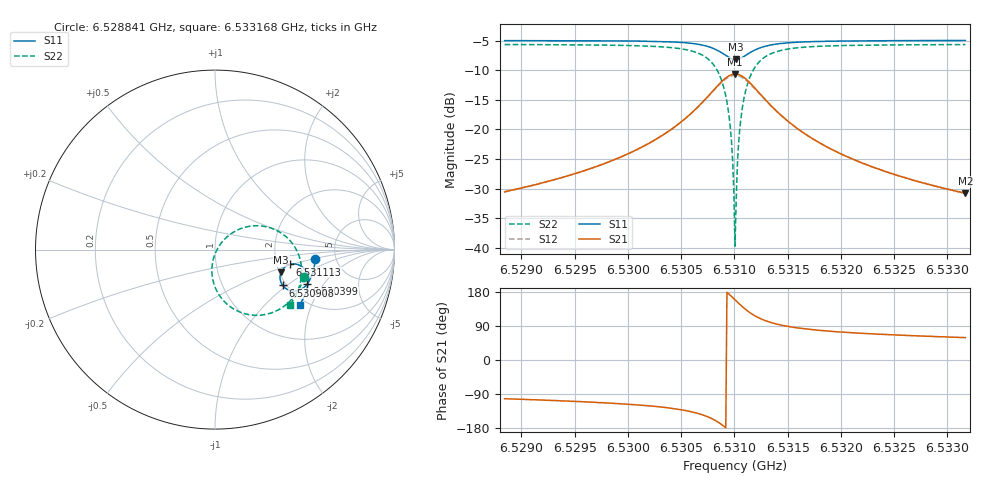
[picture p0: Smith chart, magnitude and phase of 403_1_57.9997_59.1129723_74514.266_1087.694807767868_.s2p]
#  HZ  S  RI  R  50.00
! Rohde & Schwarz Vector Network Analyzer
! Rohde-Schwarz,ZNB20-2Port,1311601062101988,3.16
! Created: UTC 3/21/2024, 1:08:19 AM
! freq[Hz]  re:S11  im:S11  re:S21  im:S21  re:S12  im:S12  re:S22  im:S22
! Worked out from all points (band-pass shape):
!   401 points, 6.528841 GHz to 6.533168 GHz, reference 50 ohm
!   highest |S21| = -10.63 dB at 6.531005 GHz (marker M1); lowest = -30.8 dB at 6.533168 GHz (marker M2)
!   |S21| within 3 dB of the highest: 6.53079 GHz to 6.531222 GHz (432.1 kHz wide, 0.00662 % of centre)
!   lowest |S11| = -8.2 dB at 6.531016 GHz (marker M3), VSWR 2.27, Z = 102 - j30.4 ohm
!   |S11| at or under -10 dB: nowhere
!   |S22| runs from -39.7 to -5.7 dB; largest |S21 - S12| = 0.011
!   S11 on the Smith chart (normalised r, x): 6.528841 GHz: 3.48, -0.51; 6.530399 GHz: 2.55, -1.41; 6.530908 GHz: 1.91, -0.94; 6.531113 GHz: 2.37, -0.48; 6.533168 GHz: 1.82, -1.65
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6.5288414e9  0.5591 -0.0499  -0.00629 -0.0291  -0.00687 -0.0291  0.4973 -0.1527
6.5295662e9  0.5495 -0.1096  -0.0153 -0.0416  -0.0161 -0.0413  0.4685 -0.2189
6.5302909e9  0.522 -0.1799  -0.0471 -0.0715  -0.0492 -0.0703  0.3905 -0.3112
6.5303991e9  0.5132 -0.1927  -0.0597 -0.0792  -0.0619 -0.0776  0.3644 -0.3293
6.5307453e9  0.4466 -0.2307  -0.1616 -0.0955  -0.1638 -0.089  0.1716 -0.3587
6.5308426e9  0.406 -0.2234  -0.2247 -0.0673  -0.2236 -0.0583  0.0654 -0.3022
6.5309075e9  0.3774 -0.2  -0.2667 -0.0173  -0.2618 -0.00797  0.00131 -0.2113
6.5309508e9  0.3648 -0.1736  -0.2826 0.0332  -0.2747 0.0409  -0.0175 -0.1248
6.5309724e9  0.3625 -0.158  -0.2836 0.0622  -0.2745 0.0682  -0.0144 -0.0769
6.5309833e9  0.3627 -0.1499  -0.2819 0.0766  -0.2723 0.0821  -0.00937 -0.053
6.5309941e9  0.3636 -0.1419  -0.2787 0.0914  -0.2689 0.0958  -0.00205 -0.0295
6.5310049e9  0.3655 -0.1339  -0.2743 0.1055  -0.2643 0.1093  0.00787 -0.00675
6.5310157e9  0.3682 -0.1263  -0.2682 0.1195  -0.2582 0.1221  0.0198 0.0149
6.5310265e9  0.3717 -0.1188  -0.261 0.1324  -0.251 0.1342  0.0338 0.0353
6.5310373e9  0.3759 -0.1119  -0.2525 0.1446  -0.2428 0.1456  0.0496 0.0541
6.531059e9  0.3863 -0.1  -0.2326 0.1658  -0.2236 0.1653  0.0856 0.0857
6.5311131e9  0.4179 -0.0825  -0.175 0.1973  -0.1687 0.1947  0.186 0.1287
6.5311888e9  0.459 -0.0827  -0.1025 0.2001  -0.0992 0.1973  0.3083 0.1213
6.531297e9  0.4947 -0.1047  -0.0398 0.1709  -0.0383 0.1694  0.4107 0.0577
6.5317297e9  0.5191 -0.1834  0.0146 0.0828  0.0155 0.0825  0.4828 -0.1285
6.5324544e9  0.4992 -0.2556  0.0169 0.0395  0.0176 0.0395  0.4553 -0.2444
6.5331684e9  0.4716 -0.3082  0.0149 0.0248  0.0154 0.0245  0.4203 -0.3062
